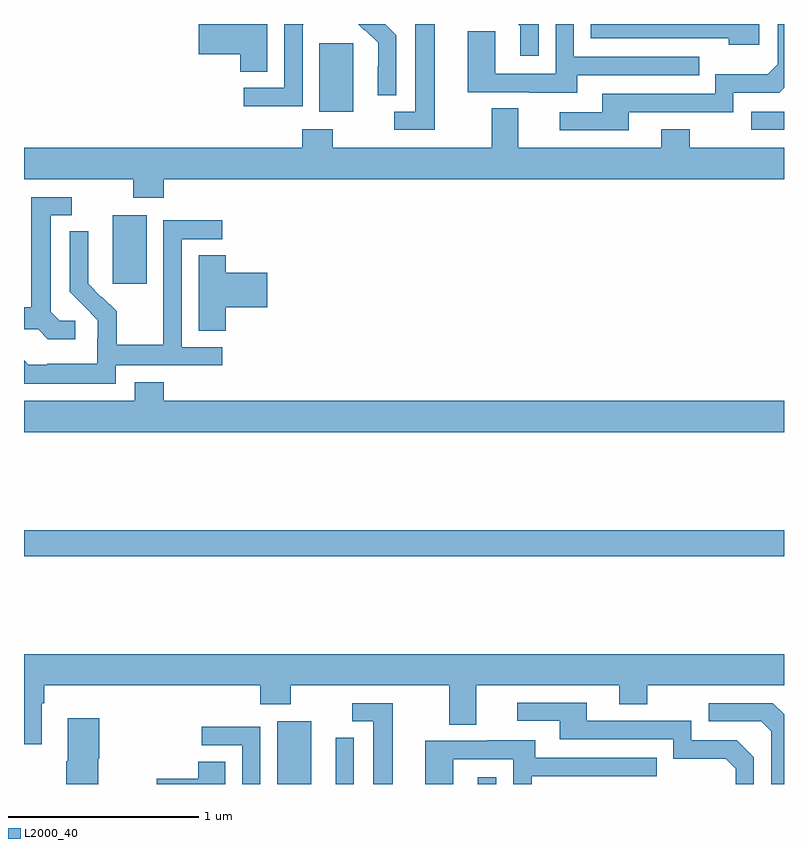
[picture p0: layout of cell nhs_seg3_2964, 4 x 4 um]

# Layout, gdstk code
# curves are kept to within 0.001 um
import gdstk
lib = gdstk.Library(unit=1e-6, precision=1e-09)
def R(c, l, rs):  # rectangles x0, y0, x1, y1
    for r in rs: c.add(gdstk.rectangle(r[:2], r[2:], *l))
def P(c, l, *ps):  # polygons
    for p in ps: c.add(gdstk.Polygon(p, *l))
L2000_40 = (2000, 40)

nhs_seg3_2964 = lib.new_cell('nhs_seg3_2964')
R(nhs_seg3_2964, L2000_40, [(266.333,696.4,266.512,696.73), (267.389,696.4,267.486,696.436), (265,697.6,269,697.736), (265.466,699.033,265.645,699.394), (268.827,699.843,269,699.939), (266.555,699.938,266.734,700.299)])
P(nhs_seg3_2964, L2000_40, [(266.958,700.342),(266.9,700.4),(266.758,700.4),(266.79,700.368),(266.793,700.371),(266.864,700.301),(266.864,700.178),(266.862,700.178),(266.862,700.024),(266.958,700.024)],
  [(267.163,700.4),(267.059,700.4),(267.059,699.939),(266.949,699.939),(266.949,699.843),(267.163,699.843)],
  [(266.281,700.4),(265.92,700.4),(265.92,700.241),(266.138,700.241),(266.138,700.15),(266.281,700.15)],
  [(268.183,699.936),(268.734,699.936),(268.734,700.038),(268.974,700.038),(269,700.064),(269,700.4),(268.968,700.4),(268.968,700.188),(268.915,700.135),(268.638,700.135),(268.638,700.032),(268.043,700.032),(268.043,699.936),(267.819,699.936),(267.819,699.84),(268.183,699.84)],
  [(267.913,700.131),(268.553,700.131),(268.553,700.227),(267.894,700.227),(267.894,700.4),(267.798,700.4),(267.798,700.137),(267.48,700.137),(267.48,700.361),(267.335,700.361),(267.335,700.041),(267.659,700.041),(267.659,700.037),(267.913,700.037)],
  [(268.87,700.4),(267.984,700.4),(267.984,700.326),(268.709,700.326),(268.709,700.292),(268.87,700.292)],
  [(266.466,700.396),(266.469,700.396),(266.469,700.4),(266.37,700.4),(266.37,700.065),(266.157,700.065),(266.157,699.967),(266.466,699.967)],
  [(267.708,700.4),(267.6,700.4),(267.611,700.389),(267.611,700.233),(267.708,700.233)],
  [(265.736,699.584),(269,699.584),(269,699.748),(268.503,699.748),(268.503,699.847),(268.355,699.847),(268.355,699.748),(267.601,699.748),(267.601,699.956),(267.461,699.956),(267.461,699.748),(266.625,699.748),(266.625,699.847),(266.465,699.847),(266.465,699.748),(265,699.748),(265,699.584),(265.576,699.584),(265.576,699.485),(265.736,699.485)],
  [(265.27,698.838),(265.188,698.838),(265.141,698.885),(265.141,699.393),(265.252,699.393),(265.252,699.489),(265.037,699.489),(265.037,698.909),(265,698.909),(265,698.793),(265.074,698.793),(265.126,698.741),(265.27,698.741)],
  [(265.482,698.604),(266.044,698.604),(266.044,698.7),(265.83,698.7),(265.83,699.267),(266.044,699.267),(266.044,699.366),(265.734,699.366),(265.734,698.936),(265.732,698.936),(265.732,698.713),(265.487,698.713),(265.487,698.887),(265.41,698.964),(265.407,698.961),(265.337,699.032),(265.338,699.308),(265.242,699.308),(265.242,698.99),(265.388,698.842),(265.388,698.745),(265.386,698.745),(265.386,698.611),(265.123,698.611),(265.123,698.607),(265.023,698.607),(265,698.63),(265,698.507),(265.482,698.507)],
  [(266.063,698.909),(266.281,698.909),(266.281,699.092),(266.063,699.092),(266.063,699.182),(265.919,699.182),(265.919,698.785),(266.063,698.785)],
  [(269,698.416),(265.736,698.416),(265.736,698.515),(265.583,698.515),(265.583,698.416),(265,698.416),(265,698.252),(269,698.252)],
  [(265.093,696.824),(265.106,696.824),(265.106,696.92),(266.243,696.92),(266.243,696.821),(266.403,696.821),(266.403,696.92),(267.239,696.92),(267.239,696.712),(267.379,696.712),(267.379,696.92),(268.133,696.92),(268.133,696.821),(268.281,696.821),(268.281,696.92),(269,696.92),(269,697.084),(265,697.084),(265,696.609),(265.093,696.609)],
  [(268.842,696.54),(268.752,696.63),(268.512,696.63),(268.512,696.732),(267.961,696.732),(267.961,696.828),(267.597,696.828),(267.597,696.732),(267.821,696.732),(267.821,696.636),(268.416,696.636),(268.416,696.533),(268.693,696.533),(268.746,696.48),(268.746,696.4),(268.842,696.4)],
  [(266.941,696.825),(266.727,696.825),(266.727,696.729),(266.837,696.729),(266.837,696.4),(266.941,696.4)],
  [(269,696.766),(268.941,696.825),(268.605,696.825),(268.605,696.729),(268.881,696.729),(268.932,696.678),(268.932,696.4),(269,696.4)],
  [(265.392,696.532),(265.397,696.532),(265.397,696.745),(265.229,696.745),(265.229,696.521),(265.222,696.521),(265.222,696.4),(265.392,696.4)],
  [(266.244,696.702),(265.935,696.702),(265.935,696.603),(266.148,696.603),(266.148,696.4),(266.244,696.4)],
  [(266.736,696.644),(266.64,696.644),(266.64,696.49),(266.642,696.49),(266.642,696.4),(266.736,696.4)],
  [(267.258,696.531),(267.576,696.531),(267.576,696.4),(267.672,696.4),(267.672,696.441),(268.331,696.441),(268.331,696.537),(267.691,696.537),(267.691,696.631),(267.437,696.631),(267.437,696.627),(267.113,696.627),(267.113,696.4),(267.258,696.4)],
  [(266.059,696.518),(265.916,696.518),(265.916,696.428),(265.698,696.428),(265.698,696.4),(266.059,696.4)])

lib.write_gds('nhs_seg3_2964.gds')
